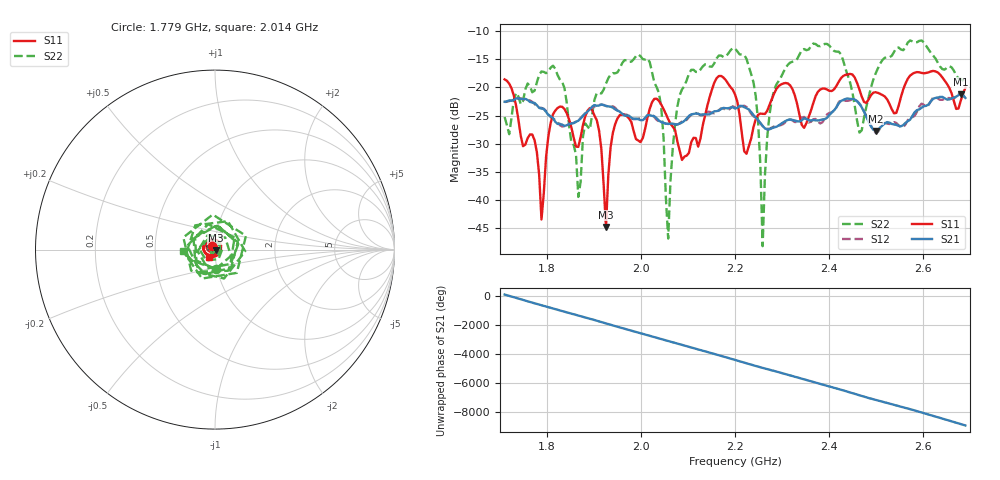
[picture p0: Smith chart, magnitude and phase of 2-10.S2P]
!Agilent Technologies,E5061B,MY49305579,A.02.22
!Date: Thu Aug 24 16:28:31 2017
!Data & Calibration Information:
!Freq	S11:SOLT2(ON)	S21:SOLT2(ON)	S12:SOLT2(ON)	S22:SOLT2(ON)
# Hz S dB R 50
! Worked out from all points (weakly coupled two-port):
!   201 points, 1.71 GHz to 2.69 GHz, reference 50 ohm
!   highest |S21| = -21.20 dB at 2.68 GHz (marker M1); lowest = -27.7 dB at 2.499 GHz (marker M2)
!   lowest |S11| = -44.8 dB at 1.926 GHz (marker M3), VSWR 1.01, Z = 50.3 - j0.502 ohm
!   |S11| at or under -10 dB: start of sweep to end of sweep
!   |S22| runs from -48.2 to -11.7 dB; largest |S21 - S12| = 0.0064
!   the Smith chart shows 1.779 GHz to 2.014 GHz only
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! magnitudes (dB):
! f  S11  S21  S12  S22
! 1.71 GHz  -18.6  -22.5  -22.6  -25.3
! 1.774 GHz  -29.4  -22.8  -22.9  -20.6
! 1.788 GHz  -43.4  -23.8  -23.6  -17.2
! 1.813 GHz  -24.8  -25.4  -25.6  -16.2
! 1.867 GHz  -30.6  -25.9  -25.8  -39.4
! 1.877 GHz  -26.7  -25.1  -25.0  -28.8
! 1.906 GHz  -25.8  -23.3  -23.3  -21.0
! 1.926 GHz  -44.8  -23.3  -23.3  -19.3
! 1.95 GHz  -25.5  -24.1  -24.1  -17.3
! 2.038 GHz  -22.4  -25.9  -26.0  -21.0
! 2.058 GHz  -25.6  -26.5  -26.5  -46.8
! 2.082 GHz  -31.2  -26.4  -26.4  -21.4
! 2.2 GHz  -21.2  -23.8  -23.5  -13.1
! 2.244 GHz  -25.6  -25.3  -25.4  -21.5
! 2.259 GHz  -24.7  -26.8  -26.9  -48.2
! 2.283 GHz  -21.1  -27.1  -26.9  -20.5
! 2.367 GHz  -22.8  -25.8  -25.6  -12.2
! 2.465 GHz  -20.4  -22.9  -22.8  -28.0
! 2.499 GHz  -20.9  -27.7  -28.1  -17.6
! 2.528 GHz  -22.9  -26.2  -26.5  -14.7
! 2.68 GHz  -22.3  -21.2  -21.0  -18.5
! 2.69 GHz  -20.1  -21.9  -22.0  -19.7
